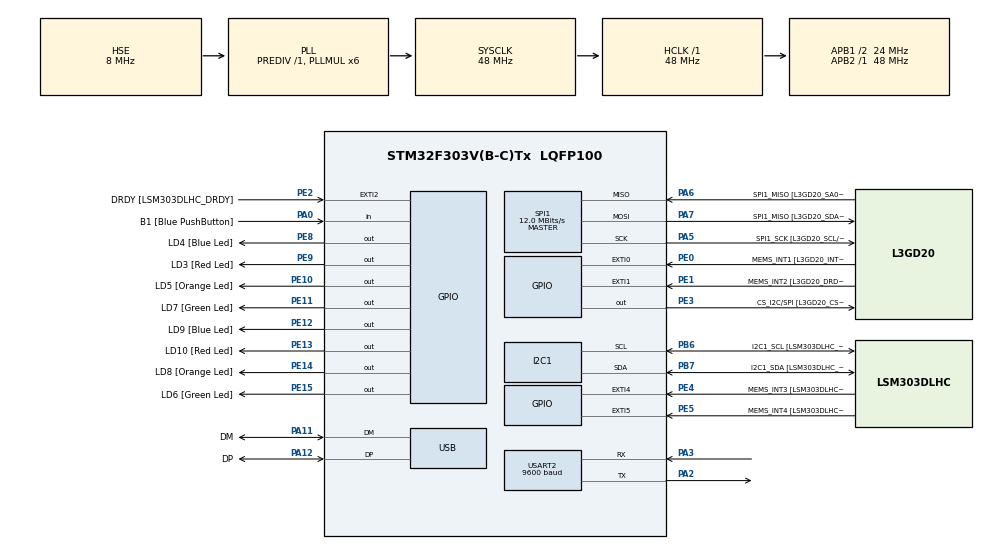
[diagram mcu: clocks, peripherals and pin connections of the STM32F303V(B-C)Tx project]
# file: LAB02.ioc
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I2C1.Timing=0x2000090E
I2C1.Timing-I2C=0x2000090E
Mcu.Family=STM32F3
Mcu.Name=STM32F303V(B-C)Tx
Mcu.Package=LQFP100
NVIC.PriorityGroup=NVIC_PRIORITYGROUP_0
PA0.GPIO_Label=B1 [Blue PushButton]
PA0.Signal=GPIO_Input
PA11.GPIO_Label=DM
PA11.Mode=Device
PA11.Signal=USB_DM
PA12.GPIO_Label=DP
PA12.Mode=Device
PA12.Signal=USB_DP
PA13.GPIO_Label=SWDIO
PA13.Mode=Serial_Wire
PA13.Signal=SYS_JTMS-SWDIO
PA14.GPIO_Label=SWCLK
PA14.Mode=Serial_Wire
PA14.Signal=SYS_JTCK-SWCLK
PA2.Mode=Asynchronous
PA2.Signal=USART2_TX
PA3.Mode=Asynchronous
PA3.Signal=USART2_RX
PA5.GPIO_Label=SPI1_SCK [L3GD20_SCL/SPC]
PA5.Mode=Full_Duplex_Master
PA5.Signal=SPI1_SCK
PA6.GPIO_Label=SPI1_MISO [L3GD20_SA0/SDO]
PA6.Mode=Full_Duplex_Master
PA6.Signal=SPI1_MISO
PA7.GPIO_Label=SPI1_MISO [L3GD20_SDA/SDI/SDO]
PA7.Mode=Full_Duplex_Master
PA7.Signal=SPI1_MOSI
PB3.GPIO_Label=SWO
PB3.Signal=SYS_JTDO-TRACESWO
PB6.GPIO_Label=I2C1_SCL [LSM303DLHC_SCL]
PB6.GPIO_Pu=GPIO_PULLUP
PB6.Mode=I2C
PB6.Signal=I2C1_SCL
PB7.GPIO_Label=I2C1_SDA [LSM303DLHC_SDA]
PB7.GPIO_Pu=GPIO_PULLUP
PB7.Mode=I2C
PB7.Signal=I2C1_SDA
PC14-OSC32_IN.GPIO_Label=OSC32_IN
PC14-OSC32_IN.Signal=RCC_OSC32_IN
PC15-OSC32_OUT.GPIO_Label=OSC32_OUT
PC15-OSC32_OUT.Signal=RCC_OSC32_OUT
PE0.GPIO_Label=MEMS_INT1 [L3GD20_INT1]
PE0.GPIO_ModeDefaultEXTI=GPIO_MODE_EVT_RISING
PE0.Signal=GPXTI0
PE1.GPIO_Label=MEMS_INT2 [L3GD20_DRDY/INT2]
PE1.GPIO_ModeDefaultEXTI=GPIO_MODE_EVT_RISING
PE1.Signal=GPXTI1
PE10.GPIO_Label=LD5 [Orange Led]
PE10.Signal=GPIO_Output
PE11.GPIO_Label=LD7 [Green Led]
PE11.Signal=GPIO_Output
PE12.GPIO_Label=LD9 [Blue Led]
PE12.Signal=GPIO_Output
PE13.GPIO_Label=LD10 [Red Led]
PE13.Signal=GPIO_Output
PE14.GPIO_Label=LD8 [Orange Led]
PE14.Signal=GPIO_Output
PE15.GPIO_Label=LD6 [Green Led]
PE15.Signal=GPIO_Output
PE2.GPIO_Label=DRDY [LSM303DLHC_DRDY]
PE2.GPIO_ModeDefaultEXTI=GPIO_MODE_EVT_RISING
PE2.Signal=GPXTI2
PE3.GPIO_Label=CS_I2C/SPI [L3GD20_CS_I2C/SPI]
PE3.Signal=GPIO_Output
PE4.GPIO_Label=MEMS_INT3 [LSM303DLHC_INT1]
PE4.GPIO_ModeDefaultEXTI=GPIO_MODE_EVT_RISING
PE4.Signal=GPXTI4
PE5.GPIO_Label=MEMS_INT4 [LSM303DLHC_INT2]
PE5.GPIO_ModeDefaultEXTI=GPIO_MODE_EVT_RISING
PE5.Signal=GPXTI5
PE8.GPIO_Label=LD4 [Blue Led]
PE8.Signal=GPIO_Output
PE9.GPIO_Label=LD3 [Red Led]
PE9.Signal=GPIO_Output
PF0-OSC_IN.GPIO_Label=OSC_IN
PF0-OSC_IN.Mode=HSE-External-Clock-Source
PF0-OSC_IN.Signal=RCC_OSC_IN
PF1-OSC_OUT.GPIO_Label=OSC_OUT
PF1-OSC_OUT.Signal=RCC_OSC_OUT
ProjectManager.HeapSize=0x200
ProjectManager.StackSize=0x400
ProjectManager.TargetToolchain=CMake
RCC.AHBFreq_Value=48000000
RCC.APB1CLKDivider=RCC_HCLK_DIV2
RCC.APB1Freq_Value=24000000
RCC.APB1TimFreq_Value=48000000
RCC.APB2Freq_Value=48000000
RCC.APB2TimFreq_Value=48000000
RCC.CortexFreq_Value=48000000
RCC.HCLKFreq_Value=48000000
RCC.HSE_VALUE=8000000
RCC.HSI_VALUE=8000000
RCC.LSE_VALUE=32768
RCC.PLLMUL=RCC_PLL_MUL6
RCC.SYSCLKFreq_VALUE=48000000
RCC.SYSCLKSourceVirtual=RCC_SYSCLKSOURCE_PLLCLK
RCC.USBFreq_Value=48000000
SPI1.BaudRatePrescaler=SPI_BAUDRATEPRESCALER_4
SPI1.BaudRatePrescaler-Full_Duplex_Master=SPI_BAUDRATEPRESCALER_2
SPI1.CalculateBaudRate=12.0 MBits/s
SPI1.CalculateBaudRate-Full_Duplex_Master=24.0 MBits/s
SPI1.Direction=SPI_DIRECTION_2LINES
SPI1.Mode=SPI_MODE_MASTER
SPI1.Mode-Full_Duplex_Master=SPI_MODE_MASTER
SPI1.VirtualType=VM_MASTER
USART2.BaudRate=9600
USART2.VirtualMode-Asynchronous=VM_ASYNC
board=STM32F3DISCOVERY

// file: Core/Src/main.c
/* USER CODE BEGIN Header */
/**
  ******************************************************************************
  * @file           : main.c
  * @brief          : Main program body
  ******************************************************************************
  * @attention
  *
  * Copyright (c) 2026 STMicroelectronics.
  * All rights reserved.
  *
  * This software is licensed under terms that can be found in the LICENSE file
  * in the root directory of this software component.
  * If no LICENSE file comes with this software, it is provided AS-IS.
  *
  ******************************************************************************
  */
/* USER CODE END Header */
#include "main.h"
#include "stdarg.h" // For variadic argument macros
#include "stdio.h"
#include "string.h"

I2C_HandleTypeDef hi2c1;

SPI_HandleTypeDef hspi1;

UART_HandleTypeDef huart2;

PCD_HandleTypeDef hpcd_USB_FS;

void SystemClock_Config(void);
static void MX_GPIO_Init(void);
static void MX_I2C1_Init(void);
static void MX_SPI1_Init(void);
static void MX_USART2_UART_Init(void);
static void MX_USB_PCD_Init(void);

int main(void)
{

  /* MCU Configuration--------------------------------------------------------*/

  /* Reset of all peripherals, Initializes the Flash interface and the Systick. */
  HAL_Init();

  /* Configure the system clock */
  SystemClock_Config();

  /* Initialize all configured peripherals */
  MX_GPIO_Init();
  MX_I2C1_Init();
  MX_SPI1_Init();
  MX_USART2_UART_Init();
  MX_USB_PCD_Init();
  /* USER CODE BEGIN 2 */
//MY TASK01

void myPrintf(const char *fmt, ...) {
    // TODO: Step 1 - Declare and initialize a character buffer.
    char buffer[100];

    // TODO: Step 2 - Initialize the variadic argument list.
    va_list args;
    va_start(args, fmt);

    // TODO: Step 3 - Format the final string using vsnprintf.
    vsnprintf(buffer, sizeof(buffer), fmt, args);
    va_end(args);

    // TODO: Step 4 - Transmit the string over UART using HAL_UART_Transmit.
    HAL_UART_Transmit(&huart2, (uint8_t*)buffer, strlen(buffer), HAL_MAX_DELAY);
};
int x = 42;
int y = 314;
myPrintf("Value of x = %d, y = %d \r\n", x, y);

//MY TASK 02
int a = 5;
int b = 3;
int lhs = 0;
int rhs = 0;

lhs = (a+b)*(a+b);
rhs = a*a + 2*a*b + b*b;
myPrintf("LHS = %d, RHS = %d \r\n", lhs, rhs);

  if (lhs == rhs) {
    myPrintf("The identity holds true.\r\n");
  } else {
    myPrintf("The identity does not hold true.\r\n");
  }

//MY TASK 03
char str[] = "Microcontrollers";
    char original[50];
    strcpy(original, str); // Keep a copy for final verification

    // (b) Define a numerical encryption key
    int key = 10331;
    int shift = key % 256;

    myPrintf("Original string: %s\r\n", str);

    // (c) Encrypt each character by shifting its ASCII value
    for (int i = 0; i < strlen(str); i++) {
        str[i] = str[i] + shift;
    }

    // (d) Print the encrypted string
    myPrintf("Encrypted string: %s\r\n", str);

    // (e) Decrypt it by reversing the operation
    for (int i = 0; i < strlen(str); i++) {
        str[i] = str[i] - shift;
    }

    // (f) Print the decrypted string and confirm it matches the original
    myPrintf("Decrypted string: %s\r\n", str);

    if (strcmp(str, original) == 0)
    {
        myPrintf("Verification: Match confirmed.\r\n");
    }
    else
    {
        myPrintf("Verification: Match failed.\r\n");
    }
//MY TASK 04
int A[2][2] = {
        {1, 2},
        {3, 4}
    };

    int B[2][2] = {
        {5, 6},
        {7, 8}
    };

    int C[2][2] = {0}; // STORING THE RESULT HERE

    // (b) Multiply the matrices using nested loops
    for (int i = 0; i < 2; i++) {
        for (int j = 0; j < 2; j++) {
            for (int k = 0; k < 2; k++) {
                C[i][j] += A[i][k] * B[k][j];
            }
        }
    }

    // (c) Printing all three matrices: A, B, and the resultant C
    myPrintf("Matrix A:\r\n");
    for (int i = 0; i < 2; i++) {
        for (int j = 0; j < 2; j++) {
            myPrintf("%d ", A[i][j]);
        }
        myPrintf("\r\n");
    }

    myPrintf("Matrix B:\r\n");
    for (int i = 0; i < 2; i++) {
        for (int j = 0; j < 2; j++) {
            myPrintf("%d ", B[i][j]);
        }
        myPrintf("\r\n");
    }

    myPrintf("Matrix C (A*B):\r\n");
    for (int i = 0; i < 2; i++) {
        for (int j = 0; j < 2; j++) {
            myPrintf("%d ", C[i][j]);
        }
        myPrintf("\r\n");
    }
//MY TASK 05
   myPrintf("Armstrong Numbers between 100 and 999:\r\n");

    // (a) Use a for loop to iterate through the range 100 to 999.
    for (int i = 100; i <= 999; i++) {
        int temp = i;
        int sum = 0;

        // (b) Extract its three digits and compute the sum of their cubes.
        while (temp > 0) {
            int digit = temp % 10;
            sum += (digit * digit * digit);
            temp /= 10;
        }

        // Compare to the original number and (c) print if it matches.
        if (sum == i) {
            myPrintf("%d\r\n", i);
        }
    }

      /* USER CODE END 2 */

  /* Infinite loop */
  while (1)
  {
    //MY TASK 0
    //HAL_UART_Transmit(&huart2, (uint8_t *)"Hello, World!\r\n", 15, HAL_MAX_DELAY);
  }
}

void SystemClock_Config(void)
{
  RCC_OscInitTypeDef RCC_OscInitStruct = {0};
  RCC_ClkInitTypeDef RCC_ClkInitStruct = {0};
  RCC_PeriphCLKInitTypeDef PeriphClkInit = {0};

  /** Initializes the RCC Oscillators according to the specified parameters
  * in the RCC_OscInitTypeDef structure.
  */
  RCC_OscInitStruct.OscillatorType = RCC_OSCILLATORTYPE_HSI|RCC_OSCILLATORTYPE_HSE;
  RCC_OscInitStruct.HSEState = RCC_HSE_BYPASS;
  RCC_OscInitStruct.HSEPredivValue = RCC_HSE_PREDIV_DIV1;
  RCC_OscInitStruct.HSIState = RCC_HSI_ON;
  RCC_OscInitStruct.HSICalibrationValue = RCC_HSICALIBRATION_DEFAULT;
  RCC_OscInitStruct.PLL.PLLState = RCC_PLL_ON;
  RCC_OscInitStruct.PLL.PLLSource = RCC_PLLSOURCE_HSE;
  RCC_OscInitStruct.PLL.PLLMUL = RCC_PLL_MUL6;
  if (HAL_RCC_OscConfig(&RCC_OscInitStruct) != HAL_OK)
  {
    Error_Handler();
  }

  /** Initializes the CPU, AHB and APB buses clocks
  */
  RCC_ClkInitStruct.ClockType = RCC_CLOCKTYPE_HCLK|RCC_CLOCKTYPE_SYSCLK
                              |RCC_CLOCKTYPE_PCLK1|RCC_CLOCKTYPE_PCLK2;
  RCC_ClkInitStruct.SYSCLKSource = RCC_SYSCLKSOURCE_PLLCLK;
  RCC_ClkInitStruct.AHBCLKDivider = RCC_SYSCLK_DIV1;
  RCC_ClkInitStruct.APB1CLKDivider = RCC_HCLK_DIV2;
  RCC_ClkInitStruct.APB2CLKDivider = RCC_HCLK_DIV1;

  if (HAL_RCC_ClockConfig(&RCC_ClkInitStruct, FLASH_LATENCY_1) != HAL_OK)
  {
    Error_Handler();
  }
  PeriphClkInit.PeriphClockSelection = RCC_PERIPHCLK_USB|RCC_PERIPHCLK_USART2
                              |RCC_PERIPHCLK_I2C1;
  PeriphClkInit.Usart2ClockSelection = RCC_USART2CLKSOURCE_PCLK1;
  PeriphClkInit.I2c1ClockSelection = RCC_I2C1CLKSOURCE_HSI;
  PeriphClkInit.USBClockSelection = RCC_USBCLKSOURCE_PLL;
  if (HAL_RCCEx_PeriphCLKConfig(&PeriphClkInit) != HAL_OK)
  {Lab03
    Error_Handler();
  }
}

static void MX_I2C1_Init(void)
{

  hi2c1.Instance = I2C1;
  hi2c1.Init.Timing = 0x2000090E;
  hi2c1.Init.OwnAddress1 = 0;
  hi2c1.Init.AddressingMode = I2C_ADDRESSINGMODE_7BIT;
  hi2c1.Init.DualAddressMode = I2C_DUALADDRESS_DISABLE;
  hi2c1.Init.OwnAddress2 = 0;
  hi2c1.Init.OwnAddress2Masks = I2C_OA2_NOMASK;
  hi2c1.Init.GeneralCallMode = I2C_GENERALCALL_DISABLE;
  hi2c1.Init.NoStretchMode = I2C_NOSTRETCH_DISABLE;
  if (HAL_I2C_Init(&hi2c1) != HAL_OK)
  {
    Error_Handler();
  }

  /** Configure Analogue filter
  */
  if (HAL_I2CEx_ConfigAnalogFilter(&hi2c1, I2C_ANALOGFILTER_ENABLE) != HAL_OK)
  {
    Error_Handler();
  }

  /** Configure Digital filter
  */
  if (HAL_I2CEx_ConfigDigitalFilter(&hi2c1, 0) != HAL_OK)
  {
    Error_Handler();
  }

}

static void MX_SPI1_Init(void)
{

  /* SPI1 parameter configuration*/
  hspi1.Instance = SPI1;
  hspi1.Init.Mode = SPI_MODE_MASTER;
  hspi1.Init.Direction = SPI_DIRECTION_2LINES;
  hspi1.Init.DataSize = SPI_DATASIZE_4BIT;
  hspi1.Init.CLKPolarity = SPI_POLARITY_LOW;
  hspi1.Init.CLKPhase = SPI_PHASE_1EDGE;
  hspi1.Init.NSS = SPI_NSS_SOFT;
  hspi1.Init.BaudRatePrescaler = SPI_BAUDRATEPRESCALER_4;
  hspi1.Init.FirstBit = SPI_FIRSTBIT_MSB;
  hspi1.Init.TIMode = SPI_TIMODE_DISABLE;
  hspi1.Init.CRCCalculation = SPI_CRCCALCULATION_DISABLE;
  hspi1.Init.CRCPolynomial = 7;
  hspi1.Init.CRCLength = SPI_CRC_LENGTH_DATASIZE;
  hspi1.Init.NSSPMode = SPI_NSS_PULSE_ENABLE;
  if (HAL_SPI_Init(&hspi1) != HAL_OK)
  {
    Error_Handler();
  }

}

static void MX_USART2_UART_Init(void)
{

  huart2.Instance = USART2;
  huart2.Init.BaudRate = 9600;
  huart2.Init.WordLength = UART_WORDLENGTH_8B;
  huart2.Init.StopBits = UART_STOPBITS_1;
  huart2.Init.Parity = UART_PARITY_NONE;
  huart2.Init.Mode = UART_MODE_TX_RX;
  huart2.Init.HwFlowCtl = UART_HWCONTROL_NONE;
  huart2.Init.OverSampling = UART_OVERSAMPLING_16;
  huart2.Init.OneBitSampling = UART_ONE_BIT_SAMPLE_DISABLE;
  huart2.AdvancedInit.AdvFeatureInit = UART_ADVFEATURE_NO_INIT;
  if (HAL_UART_Init(&huart2) != HAL_OK)
  {
    Error_Handler();
  }

}

static void MX_USB_PCD_Init(void)
{

  hpcd_USB_FS.Instance = USB;
  hpcd_USB_FS.Init.dev_endpoints = 8;
  hpcd_USB_FS.Init.speed = PCD_SPEED_FULL;
  hpcd_USB_FS.Init.phy_itface = PCD_PHY_EMBEDDED;
  hpcd_USB_FS.Init.low_power_enable = DISABLE;
  hpcd_USB_FS.Init.battery_charging_enable = DISABLE;
  if (HAL_PCD_Init(&hpcd_USB_FS) != HAL_OK)
  {
    Error_Handler();
  }

}

static void MX_GPIO_Init(void)
{
  GPIO_InitTypeDef GPIO_InitStruct = {0};

  /* GPIO Ports Clock Enable */
  __HAL_RCC_GPIOE_CLK_ENABLE();
  __HAL_RCC_GPIOC_CLK_ENABLE();
  __HAL_RCC_GPIOF_CLK_ENABLE();
  __HAL_RCC_GPIOA_CLK_ENABLE();
  __HAL_RCC_GPIOB_CLK_ENABLE();

  /*Configure GPIO pin Output Level */
  HAL_GPIO_WritePin(GPIOE, CS_I2C_SPI_Pin|LD4_Pin|LD3_Pin|LD5_Pin
                          |LD7_Pin|LD9_Pin|LD10_Pin|LD8_Pin
                          |LD6_Pin, GPIO_PIN_RESET);

  /*Configure GPIO pins : DRDY_Pin MEMS_INT3_Pin MEMS_INT4_Pin MEMS_INT1_Pin
                           MEMS_INT2_Pin */
  GPIO_InitStruct.Pin = DRDY_Pin|MEMS_INT3_Pin|MEMS_INT4_Pin|MEMS_INT1_Pin
                          |MEMS_INT2_Pin;
  GPIO_InitStruct.Mode = GPIO_MODE_EVT_RISING;
  GPIO_InitStruct.Pull = GPIO_NOPULL;
  HAL_GPIO_Init(GPIOE, &GPIO_InitStruct);

  /*Configure GPIO pins : CS_I2C_SPI_Pin LD4_Pin LD3_Pin LD5_Pin
                           LD7_Pin LD9_Pin LD10_Pin LD8_Pin
                           LD6_Pin */
  GPIO_InitStruct.Pin = CS_I2C_SPI_Pin|LD4_Pin|LD3_Pin|LD5_Pin
                          |LD7_Pin|LD9_Pin|LD10_Pin|LD8_Pin
                          |LD6_Pin;
  GPIO_InitStruct.Mode = GPIO_MODE_OUTPUT_PP;
  GPIO_InitStruct.Pull = GPIO_NOPULL;
  GPIO_InitStruct.Speed = GPIO_SPEED_FREQ_LOW;
  HAL_GPIO_Init(GPIOE, &GPIO_InitStruct);

  /*Configure GPIO pin : B1_Pin */
  GPIO_InitStruct.Pin = B1_Pin;
  GPIO_InitStruct.Mode = GPIO_MODE_INPUT;
  GPIO_InitStruct.Pull = GPIO_NOPULL;
  HAL_GPIO_Init(B1_GPIO_Port, &GPIO_InitStruct);

}

void Error_Handler(void)
{
  __disable_irq();
  while (1)
  {
  }
}
